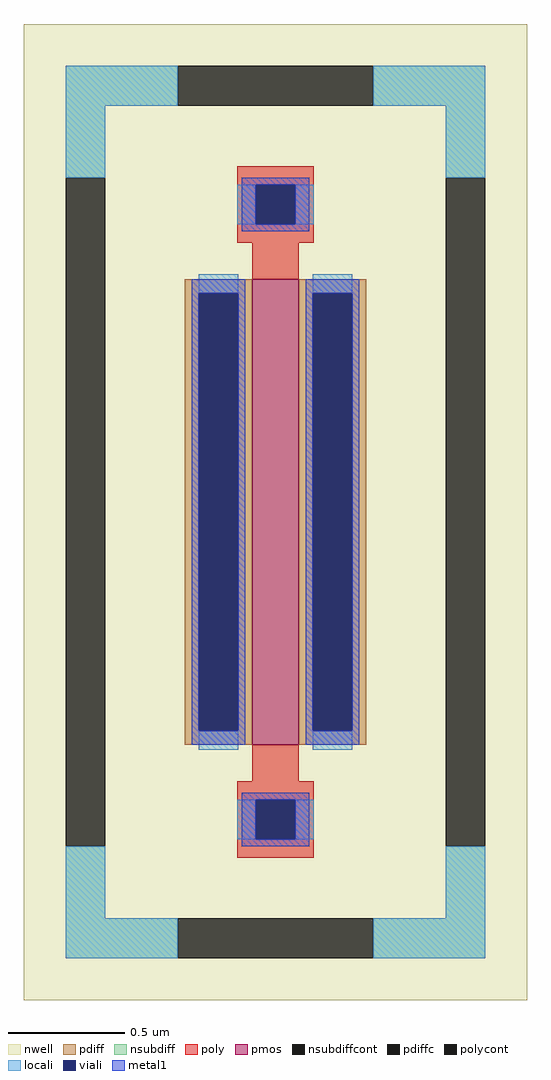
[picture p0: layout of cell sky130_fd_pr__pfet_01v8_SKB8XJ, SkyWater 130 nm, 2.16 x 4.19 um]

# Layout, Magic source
magic
tech sky130A
magscale 1 2
<< nwell >>
rect -216 -419 216 419
<< pmos >>
rect -20 -200 20 200
<< pdiff >>
rect -78 188 -20 200
rect -78 -188 -66 188
rect -32 -188 -20 188
rect -78 -200 -20 -188
rect 20 188 78 200
rect 20 -188 32 188
rect 66 -188 78 188
rect 20 -200 78 -188
<< pdiffc >>
rect -66 -188 -32 188
rect 32 -188 66 188
<< nsubdiff >>
rect -180 349 -84 383
rect 84 349 180 383
rect -180 287 -146 349
rect 146 287 180 349
rect -180 -349 -146 -287
rect 146 -349 180 -287
rect -180 -383 -84 -349
rect 84 -383 180 -349
<< nsubdiffcont >>
rect -84 349 84 383
rect -180 -287 -146 287
rect 146 -287 180 287
rect -84 -383 84 -349
<< poly >>
rect -33 281 33 297
rect -33 247 -17 281
rect 17 247 33 281
rect -33 231 33 247
rect -20 200 20 231
rect -20 -231 20 -200
rect -33 -247 33 -231
rect -33 -281 -17 -247
rect 17 -281 33 -247
rect -33 -297 33 -281
<< polycont >>
rect -17 247 17 281
rect -17 -281 17 -247
<< locali >>
rect -180 349 -84 383
rect 84 349 180 383
rect -180 287 -146 349
rect 146 287 180 349
rect -33 247 -17 281
rect 17 247 33 281
rect -66 188 -32 204
rect -66 -204 -32 -188
rect 32 188 66 204
rect 32 -204 66 -188
rect -33 -281 -17 -247
rect 17 -281 33 -247
rect -180 -349 -146 -287
rect 146 -349 180 -287
rect -180 -383 -84 -349
rect 84 -383 180 -349
<< viali >>
rect -17 247 17 281
rect -66 -188 -32 188
rect 32 -188 66 188
rect -17 -281 17 -247
<< metal1 >>
rect -29 281 29 287
rect -29 247 -17 281
rect 17 247 29 281
rect -29 241 29 247
rect -72 188 -26 200
rect -72 -188 -66 188
rect -32 -188 -26 188
rect -72 -200 -26 -188
rect 26 188 72 200
rect 26 -188 32 188
rect 66 -188 72 188
rect 26 -200 72 -188
rect -29 -247 29 -241
rect -29 -281 -17 -247
rect 17 -281 29 -247
rect -29 -287 29 -281
<< properties >>
string FIXED_BBOX -163 -366 163 366
string gencell sky130_fd_pr__pfet_01v8
string library sky130
string parameters w 2.0 l 0.2 m 1 nf 1 diffcov 100 polycov 100 guard 1 glc 1 grc 1 gtc 1 gbc 1 tbcov 100 rlcov 100 topc 1 botc 1 poverlap 0 doverlap 1 lmin 0.15 wmin 0.42 compatible {sky130_fd_pr__pfet_01v8  sky130_fd_pr__pfet_01v8_lvt sky130_fd_pr__pfet_01v8_hvt  sky130_fd_pr__pfet_g5v0d10v5} full_metal 1 viasrc 100 viadrn 100 viagate 100 viagb 0 viagr 0 viagl 0 viagt 0
<< end >>
